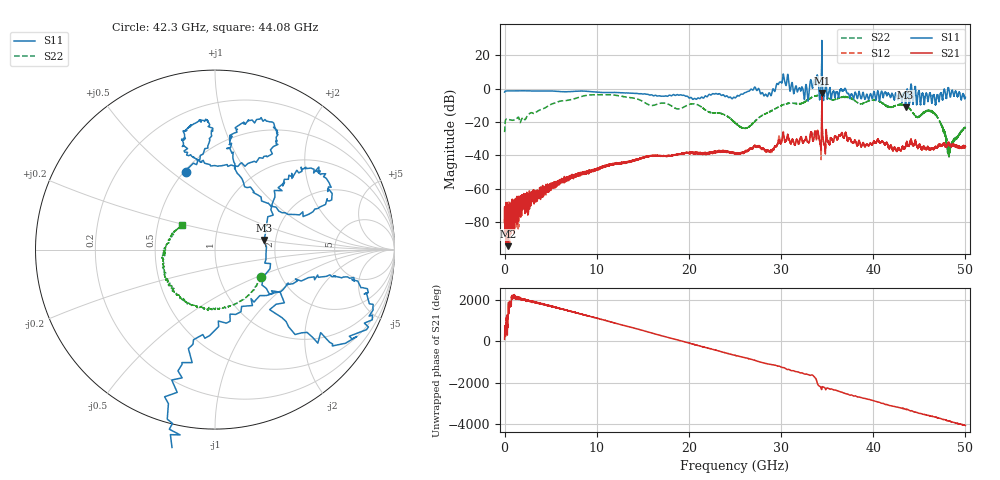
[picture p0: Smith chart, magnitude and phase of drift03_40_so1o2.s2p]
!Created with skrf (http://scikit-rf.org).
# Hz S RI R 50.0
!freq ReS11 ImS11 ReS21 ImS21 ReS12 ImS12 ReS22 ImS22
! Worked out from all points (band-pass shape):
!   10000 points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, 5.3 MHz to 50 GHz, reference 50 ohm
!   highest |S21| = -2.58 dB at 34.43 GHz (marker M1); lowest = -94.4 dB at 385.3 MHz (marker M2)
!   |S21| within 3 dB of the highest: 34.42756 GHz to 34.43476 GHz (7.195 MHz wide, 0.0209 % of centre)
!   lowest |S11| = -11.1 dB at 43.51 GHz (marker M3), VSWR 1.77, Z = 86.8 + j9.99 ohm
!   |S11| at or under -10 dB: 43.49138 GHz to 43.53963 GHz (48.25 MHz wide, 0.111 % of centre); 43.54773 GHz to 43.55197 GHz (4.239 MHz wide, 0.00973 % of centre)
!   |S22| runs from -41.0 to -3.6 dB; largest |S21 - S12| = 0.23
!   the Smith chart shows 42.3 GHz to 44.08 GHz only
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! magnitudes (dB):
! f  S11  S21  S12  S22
! 5.3 MHz  -2.1  -79.8  -79.9  -26.1
! 385.3 MHz  -1.4  -94.4  -73.3  -18.4
! 8.34 GHz  -1.5  -51.1  -50.7  -4.7
! 16.67 GHz  -4.4  -40.4  -40.3  -9.1
! 20.75 GHz  -6.3  -38.3  -38.0  -9.3
! 25.01 GHz  -5.5  -38.7  -39.2  -20.5
! 26.23 GHz  -2.2  -37.2  -37.5  -23.7
! 27.37 GHz  -1.1  -35.1  -35.0  -18.5
! 28.72 GHz  -2.5  -37.6  -37.5  -14.0
! 30.14 GHz  4.4  -29.4  -29.6  -9.9
! 32.74 GHz  2.0  -29.5  -29.2  -7.3
! 33.34 GHz  2.6  -27.4  -27.9  -5.3
! 33.82 GHz  4.0  -29.0  -29.5  -4.3
! 34.43 GHz  28.8  -2.6  -4.6  -4.0
! 36.48 GHz  -0.4  -27.9  -27.9  -5.3
! 38.88 GHz  -2.3  -32.5  -32.5  -9.0
! 41.67 GHz  -2.9  -35.5  -35.8  -11.1
! 43.51 GHz  -11.1  -34.7  -34.6  -10.3
! 44.75 GHz  -8.9  -35.0  -35.0  -17.1
! 46.65 GHz  -4.9  -35.5  -35.8  -14.6
! 48.25 GHz  -1.5  -33.2  -33.7  -37.0
! 50 GHz  -5.2  -34.9  -35.0  -23.3
